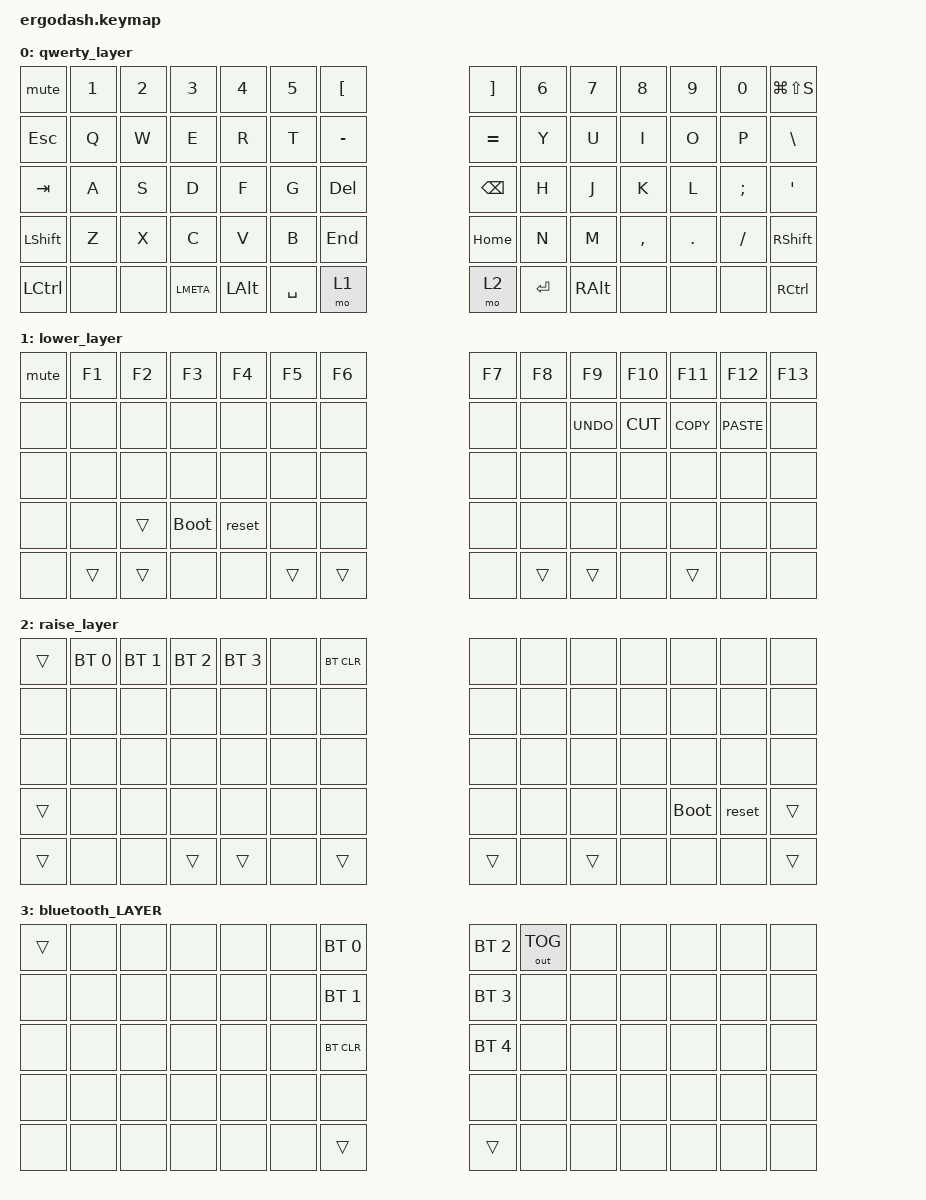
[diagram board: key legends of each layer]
/*
 * Copyright (c) 2020 The ZMK Contributors
 *
 * SPDX-License-Identifier: MIT
 */

#include <behaviors.dtsi>
#include <dt-bindings/zmk/keys.h>
#include <dt-bindings/zmk/bt.h>
#include <dt-bindings/zmk/outputs.h>

#define QWERTY  0
#define LOWER   1
#define RAISE   2
#define CUSTOM  3

/ {
    combos {
        compatible = "zmk,combos";

        bluetooth_layer {
            bindings = <&to 3>;
            key-positions = <48 49>;
            layers = <0 3 1 2>;
        };

        next_song {
            bindings = <&kp C_NEXT>;
            key-positions = <0 1>;
            layers = <1 0 2 3>;
        };
    };

    macros {
        mute: mute {
            compatible = "zmk,behavior-macro";
            label = "new_macro";
            #binding-cells = <0>;
            bindings =
                <&macro_tap>,
                <&kp K_MUTE &kp C_PP>;
        };
    };

    keymap {
        compatible = "zmk,keymap";

        qwerty_layer {
            /* QWERTY
 * .----------------------------------------------------------------------------------------------------------------------.
 * |  `   |   1  |   2  |   3  |   4  |   5  |  [   |                    |  ]   |   6  |   7  |   8  |   9  |   0  | PScr |
 * |------+------+------+------+------+------+------+--------------------+------+------+------+------+------+------+------|
 * | ESC  |   Q  |   W  |   E  |   R  |   T  |  -   |                    |  =   |   Y  |   U  |   I  |   O  |   P  |  \   |
 * |------+------+------+------+------+------+------+--------------------+------+------+------+------+------+------+------|
 * | Tab  |   A  |   S  |   D  |   F  |   G  | Del  |                    | Bksp |   H  |   J  |   K  |   L  |   ;  |  '   |
 * |------+------+------+------+------+------+---------------------------+------+------+------+------+------+------+------|
 * | Shift|   Z  |   X  |   C  |   V  |   B  | End  |                    | Home |   N  |   M  |   ,  |   .  |   /  | Shift|
 * |-------------+------+------+------+------+------+------+------+------+------+------+------+------+------+-------------|
 * | Ctrl |      | PGDN | Win  |||||||| Alt  | Space| Lower|||||||| Raise| Enter| RAlt ||||||||      | PGUP | Ins  | RCtrl|
 * .----------------------------------------------------------------------------------------------------------------------.
 */

            bindings = <
     &mute  &kp N1  &kp N2     &kp N3    &kp N4  &kp N5   &kp LBKT                      &kp RBKT  &kp N6    &kp N7     &kp N8   &kp N9     &kp N0  &kp LG(LS(S))
   &kp ESC   &kp Q   &kp W      &kp E     &kp R   &kp T  &kp MINUS                     &kp EQUAL   &kp Y     &kp U      &kp I    &kp O      &kp P  &kp BACKSLASH
   &kp TAB   &kp A   &kp S      &kp D     &kp F   &kp G    &kp DEL                      &kp BSPC   &kp H     &kp J      &kp K    &kp L   &kp SEMI        &kp SQT
 &kp LSHFT   &kp Z   &kp X      &kp C     &kp V   &kp B             &kp END  &kp HOME              &kp N     &kp M  &kp COMMA  &kp DOT  &kp SLASH      &kp RSHFT
 &kp LCTRL   &none   &none  &kp LMETA  &kp LALT          &kp SPACE    &mo 1     &mo 2    &kp RET          &kp RALT      &none    &none      &none      &kp RCTRL
            >;
        };

        lower_layer {
            /* .----------------------------------------------------------------------------------------------------------------------.
 * |  F11 |  F1  |  F2  |  F3  |  F4  |  F5  |      |                    |      |  F6  |  F7  |  F8  |  F9  |  F10 |  F12 |
 * |------+------+------+------+------+------+------+--------------------+------+------+------+------+------+------+------|
 * |      |      |      |      |      |      |      |                    |      |      |      |      |      |      |      |
 * |------+------+------+------+------+------+------+--------------------+------+------+------+------+------+------+------|
 * |      |      |      |      |      |      |      |                    |      |      |      |      |      |      |      |
 * |------+------+------+------+------+------+---------------------------+------+------+------+------+------+------+------|
 * | Shift| Boot | Reset|      |      |      |      |                    |      |      |      |      |      |      | Shift|
 * |-------------+------+------+------+------+------+------+------+------+------+------+------+------+------+-------------|
 * | Ctlr |      |      |  Win |||||||| Alt  |      | Lower|||||||| Raise|      | RAlt ||||||||      |      |      | RCtrl|
 * .----------------------------------------------------------------------------------------------------------------------.
 *//* FIXME boot and reset are not yet locale aware */
            bindings = <
  &mute  &kp F1  &kp F2       &kp F3  &kp F4  &kp F5  &kp F6                  &kp F7  &kp F8      &kp F9    &kp F10     &kp F11      &kp F12  &kp F13
  &none   &none   &none        &none   &none   &none   &none                   &none   &none  &kp K_UNDO  &kp K_CUT  &kp K_COPY  &kp K_PASTE    &none
  &none   &none   &none        &none   &none   &none   &none                   &none   &none       &none      &none       &none        &none    &none
  &none   &none  &trans  &bootloader  &reset   &none           &none   &none           &none       &none      &none       &none        &none    &none
  &none  &trans  &trans        &none   &none          &trans  &trans   &none  &trans              &trans      &none      &trans        &none    &none
            >;
        };

        raise_layer {
            /* .----------------------------------------------------------------------------------------------------------------------.
 * |      | BT 0 | BT 1 | BT 2 | BT 3 |      | BTCL |                    |      |      |      |      |      |      |      |
 * |------+------+------+------+------+------+------+--------------------+------+------+------+------+------+------+------|
 * |      |      |      |      |      |      |      |                    |      |      |      |      |      |      |      |
 * |------+------+------+------+------+------+------+--------------------+------+------+------+------+------+------+------|
 * |      |      |      |      |      |      |      |                    |      |      |      |      |      |      |      |
 * |------+------+------+------+------+------+---------------------------+------+------+------+------+------+------+------|
 * | Shift|      |      |      |      |      |      |                    |      |      |      |      | Boot | Reset| Shift|
 * |-------------+------+------+------+------+------+------+------+------+------+------+------+------+------+-------------|
 * | Ctlr |      |      |  Win |||||||| Alt  |      | Lower|||||||| Raise|      | RAlt ||||||||      |      |      | RCtrl|
 * .----------------------------------------------------------------------------------------------------------------------.
 *//* FIXME boot and reset are not yet locale aware */
            bindings = <
 &trans  &bt BT_SEL 0  &bt BT_SEL 1  &bt BT_SEL 2  &bt BT_SEL 3   &none  &bt BT_CLR                   &none   &none   &none   &none        &none   &none   &none
  &none         &none         &none         &none         &none   &none       &none                   &none   &none   &none   &none        &none   &none   &none
  &none         &none         &none         &none         &none   &none       &none                   &none   &none   &none   &none        &none   &none   &none
 &trans         &none         &none         &none         &none   &none               &none   &none           &none   &none   &none  &bootloader  &reset  &trans
 &trans         &none         &none        &trans        &trans               &none  &trans  &trans   &none          &trans   &none        &none   &none  &trans
            >;
        };

        bluetooth_LAYER {
            /* .----------------------------------------------------------------------------------------------------------------------.
 * |      |      |      |      |      |      |      |                    |      |      |      |      |      |      |      |
 * |------+------+------+------+------+------+------+--------------------+------+------+------+------+------+------+------|
 * |      |      |      |      |      |      |      |                    |      |      |      |      |      |      |      |
 * |------+------+------+------+------+------+------+--------------------+------+------+------+------+------+------+------|
 * |      |      |      |      |      |      |      |                    |      |      |      |      |      |      |      |
 * |------+------+------+------+------+------+---------------------------+------+------+------+------+------+------+------|
 * |      |      |      |      |      |      |      |                    |      |      |      |      |      |      |      |
 * |-------------+------+------+------+------+------+------+------+------+------+------+------+------+------+-------------|
 * |      |      |      |      ||||||||      |      |      ||||||||      |      |      ||||||||      |      |      |      |
 * .----------------------------------------------------------------------------------------------------------------------.
 *//* FIXME boot and reset are not yet locale aware */
            bindings = <
 &trans   &none   &none   &none   &none   &none  &bt BT_SEL 0                  &bt BT_SEL 2  &out OUT_TOG   &none   &none   &none   &none   &none
  &none   &none   &none   &none   &none   &none  &bt BT_SEL 1                  &bt BT_SEL 3         &none   &none   &none   &none   &none   &none
  &none   &none   &none   &none   &none   &none    &bt BT_CLR                  &bt BT_SEL 4         &none   &none   &none   &none   &none   &none
  &none   &none   &none   &none   &none   &none                 &none   &none                       &none   &none   &none   &none   &none   &none
  &none   &none   &none   &none   &none                 &none  &trans  &trans         &none                 &none   &none   &none   &none   &none
            >;
        };
    };
};
